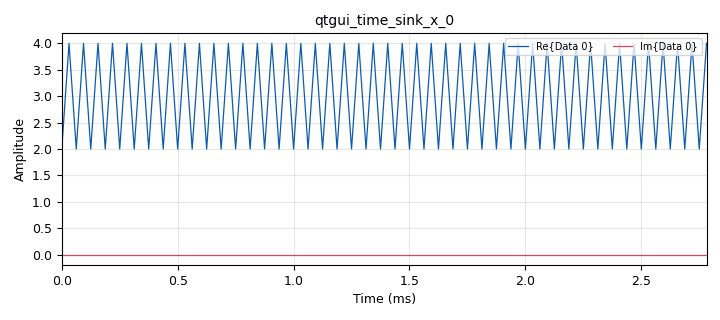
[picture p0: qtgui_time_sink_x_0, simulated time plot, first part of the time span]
options:
  parameters:
    author: aruncs
    generate_options: qt_gui
    id: untitled
    output_language: python
    title: Not titled yet
  states: {}

blocks:
- name: samp_rate
  id: variable
  parameters:
    value: '32000'
  states: {}
- name: blocks_vector_source_x_0
  id: blocks_vector_source_x
  parameters:
    repeat: 'True'
    type: complex
    vector: (1,2)
  states: {}
- name: epy_block_0
  id: epy_block
  parameters:
    _source_code: |
      """
      Embedded Python Blocks:

      Each time this file is saved, GRC will instantiate the first class it finds
      to get ports and parameters of your block. The arguments to __init__  will
      be the parameters. All of them are required to have default values!
      """

      import numpy as np
      from gnuradio import gr

      class blk(gr.sync_block):  # other base classes are basic_block, decim_block, interp_block
          """Embedded Python Block example - a simple multiply const"""

          def __init__(self, example_param=1.0):  # only default arguments here
              """arguments to this function show up as parameters in GRC"""
              gr.sync_block.__init__(
                  self,
                  name='makBPSK',   # will show up in GRC
                  in_sig=[np.complex64],
                  out_sig=[np.complex64]
              )
              # if an attribute with the same name as a parameter is found,
              # a callback is registered (properties work, too).
              self.example_param = example_param

          def work(self, input_items, output_items):
              """example: multiply with constant"""
              output_items[0][:] = add(input_items[0])
              return len(output_items[0])
              
      def add(input):
      	return input*2
    example_param: '1.0'
  states: {}
- name: qtgui_time_sink_x_0
  id: qtgui_time_sink_x
  parameters:
    autoscale: 'True'
    size: '1024'
    srate: samp_rate
    type: complex
  states: {}

connections:
- [blocks_vector_source_x_0, '0', epy_block_0, '0']
- [epy_block_0, '0', qtgui_time_sink_x_0, '0']

metadata:
  file_format: 1
  grc_version: 3.10.11.0
